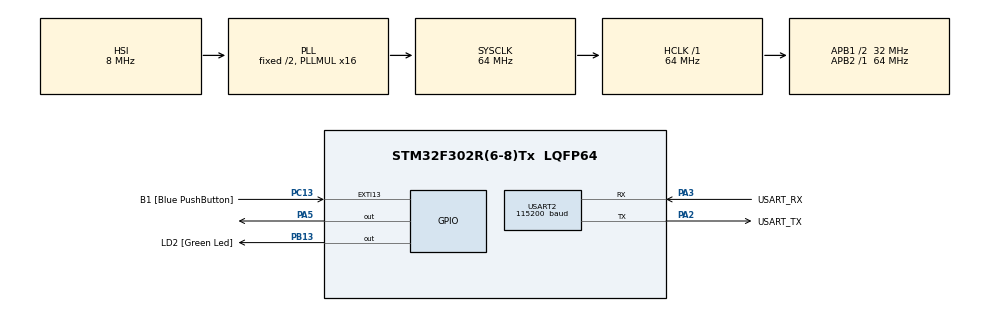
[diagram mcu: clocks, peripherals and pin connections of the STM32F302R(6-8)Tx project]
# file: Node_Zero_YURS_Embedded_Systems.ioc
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Mcu.Family=STM32F3
Mcu.Name=STM32F302R(6-8)Tx
Mcu.Package=LQFP64
NVIC.PriorityGroup=NVIC_PRIORITYGROUP_0
NVIC.TIM1_UP_TIM16_IRQn=true\:0\:0\:false\:false\:true\:true\:true\:true
NVIC.USART2_IRQn=true\:0\:0\:false\:false\:true\:true\:true\:true
PA13.GPIO_Label=TMS
PA13.Mode=Serial_Wire
PA13.Signal=SYS_JTMS-SWDIO
PA14.GPIO_Label=TCK
PA14.Mode=Serial_Wire
PA14.Signal=SYS_JTCK-SWCLK
PA2.GPIO_Label=USART_TX
PA2.GPIO_Mode=GPIO_MODE_AF_PP
PA2.GPIO_PuPd=GPIO_NOPULL
PA2.GPIO_Speed=GPIO_SPEED_FREQ_LOW
PA2.Mode=Asynchronous
PA2.Signal=USART2_TX
PA3.GPIO_Label=USART_RX
PA3.GPIO_Mode=GPIO_MODE_AF_PP
PA3.GPIO_PuPd=GPIO_NOPULL
PA3.GPIO_Speed=GPIO_SPEED_FREQ_LOW
PA3.Mode=Asynchronous
PA3.Signal=USART2_RX
PA5.Signal=GPIO_Output
PB13.GPIO_Label=LD2 [Green Led]
PB13.Signal=GPIO_Output
PB3.GPIO_Label=SWO
PB3.Mode=Trace_Asynchronous_SW
PB3.Signal=SYS_JTDO-TRACESWO
PC13.GPIO_Label=B1 [Blue PushButton]
PC13.GPIO_ModeDefaultEXTI=GPIO_MODE_IT_FALLING
PC13.Signal=GPXTI13
PC14\ -\ OSC32_IN.Mode=LSE-External-Oscillator
PC14\ -\ OSC32_IN.Signal=RCC_OSC32_IN
PC15\ -\ OSC32_OUT.Mode=LSE-External-Oscillator
PC15\ -\ OSC32_OUT.Signal=RCC_OSC32_OUT
PF0-OSC_IN.Mode=HSE-External-Clock-Source
PF0-OSC_IN.Signal=RCC_OSC_IN
PF1-OSC_OUT.Signal=RCC_OSC_OUT
ProjectManager.HeapSize=0x200
ProjectManager.StackSize=0x400
ProjectManager.TargetToolchain=STM32CubeIDE
RCC.AHBFreq_Value=64000000
RCC.APB1CLKDivider=RCC_HCLK_DIV2
RCC.APB1Freq_Value=32000000
RCC.APB1TimFreq_Value=64000000
RCC.APB2Freq_Value=64000000
RCC.APB2TimFreq_Value=64000000
RCC.CortexFreq_Value=64000000
RCC.HCLKFreq_Value=64000000
RCC.HSE_VALUE=8000000
RCC.HSI_VALUE=8000000
RCC.PLLM=8
RCC.PLLMUL=RCC_PLL_MUL16
RCC.PLLN=336
RCC.PLLP=RCC_PLLP_DIV4
RCC.PLLQ=7
RCC.RCC_PLLsource_Clock_Source_FROM_HSE=RCC_HSE_PREDIV_DIV2
RCC.SYSCLKFreq_VALUE=64000000
RCC.SYSCLKSourceVirtual=RCC_SYSCLKSOURCE_PLLCLK
RCC.USBFreq_Value=64000000
TIM1.Period=55535
TIM1.Prescaler=1000
TIM16.AutoReloadPreload=TIM_AUTORELOAD_PRELOAD_DISABLE
TIM16.Period=4999
TIM16.Prescaler=6399
USART2.BaudRate=115200 
USART2.VirtualMode-Asynchronous=VM_ASYNC
VP_TIM16_VS_ClockSourceINT.Mode=Enable_Timer
VP_TIM1_VS_ClockSourceINT.Mode=Internal
board=NUCLEO-F302R8

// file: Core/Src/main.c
/* USER CODE BEGIN Header */
/**
  ******************************************************************************
  * @file           : main.c
  * @brief          : Main program body
  ******************************************************************************
  * @attention
  *
  * Copyright (c) 2026 STMicroelectronics.
  * All rights reserved.
  *
  * This software is licensed under terms that can be found in the LICENSE file
  * in the root directory of this software component.
  * If no LICENSE file comes with this software, it is provided AS-IS.
  *
  ******************************************************************************
  */
/* USER CODE END Header */
#include "main.h"

/* USER CODE BEGIN Includes */
#include "stdio.h"
#include "string.h"
/* USER CODE END Includes */

TIM_HandleTypeDef htim1;
TIM_HandleTypeDef htim16;

UART_HandleTypeDef huart2;

void SystemClock_Config(void);
static void MX_GPIO_Init(void);
static void MX_USART2_UART_Init(void);
static void MX_TIM16_Init(void);
static void MX_TIM1_Init(void);

/* USER CODE BEGIN 0 */

int _write(char *ptr, int len)
{
    // Transmit all 'len' bytes over USART2 at once with a maximum delay timeout
    HAL_UART_Transmit(&huart2, (uint8_t*)ptr, len, HAL_MAX_DELAY);
    return len;

}

/* USER CODE END 0 */

int main(void)
{

  /* MCU Configuration--------------------------------------------------------*/

  /* Reset of all peripherals, Initializes the Flash interface and the Systick. */
  HAL_Init();

  /* Configure the system clock */
  SystemClock_Config();

  /* Initialize all configured peripherals */
  MX_GPIO_Init();
  MX_USART2_UART_Init();
  MX_TIM16_Init();
  MX_TIM1_Init();
  /* USER CODE BEGIN 2 */

//Now I start the timer in Interrupt Mode
  HAL_TIM_Base_Start_IT(&htim16);

  char* codename = "CODENAME: Giuse14\r\n";
  char* firmware = ("FIRMWARE VERSION: v1.1.0 - Phase1\r\n");
  char* str = "message\0";
  _write(str, 8);
  _write(codename, 17);
  _write(firmware, 33);
  /* USER CODE END 2 */

  /* Infinite loop */
  while (1)
  {
//	  _write(str, 8);
    /* USER CODE BEGIN 3 */

//	  This is the alternative with the delay loop
//	  HAL_GPIO_WritePin(LD2_GPIO_Port, LD2_Pin, GPIO_PIN_SET);
//	  HAL_Delay(500);
//	  HAL_GPIO_WritePin(LD2_GPIO_Port, LD2_Pin, GPIO_PIN_RESET);
//	  HAL_Delay(500);

  }
  /* USER CODE END 3 */
}

void SystemClock_Config(void)
{
  RCC_OscInitTypeDef RCC_OscInitStruct = {0};
  RCC_ClkInitTypeDef RCC_ClkInitStruct = {0};
  RCC_PeriphCLKInitTypeDef PeriphClkInit = {0};

  /** Initializes the RCC Oscillators according to the specified parameters
  * in the RCC_OscInitTypeDef structure.
  */
  RCC_OscInitStruct.OscillatorType = RCC_OSCILLATORTYPE_HSI;
  RCC_OscInitStruct.HSIState = RCC_HSI_ON;
  RCC_OscInitStruct.HSICalibrationValue = RCC_HSICALIBRATION_DEFAULT;
  RCC_OscInitStruct.PLL.PLLState = RCC_PLL_ON;
  RCC_OscInitStruct.PLL.PLLSource = RCC_PLLSOURCE_HSI;
  RCC_OscInitStruct.PLL.PLLMUL = RCC_PLL_MUL16;
  if (HAL_RCC_OscConfig(&RCC_OscInitStruct) != HAL_OK)
  {
    Error_Handler();
  }

  /** Initializes the CPU, AHB and APB buses clocks
  */
  RCC_ClkInitStruct.ClockType = RCC_CLOCKTYPE_HCLK|RCC_CLOCKTYPE_SYSCLK
                              |RCC_CLOCKTYPE_PCLK1|RCC_CLOCKTYPE_PCLK2;
  RCC_ClkInitStruct.SYSCLKSource = RCC_SYSCLKSOURCE_PLLCLK;
  RCC_ClkInitStruct.AHBCLKDivider = RCC_SYSCLK_DIV1;
  RCC_ClkInitStruct.APB1CLKDivider = RCC_HCLK_DIV2;
  RCC_ClkInitStruct.APB2CLKDivider = RCC_HCLK_DIV1;

  if (HAL_RCC_ClockConfig(&RCC_ClkInitStruct, FLASH_LATENCY_2) != HAL_OK)
  {
    Error_Handler();
  }
  PeriphClkInit.PeriphClockSelection = RCC_PERIPHCLK_TIM1|RCC_PERIPHCLK_TIM16;
  PeriphClkInit.Tim1ClockSelection = RCC_TIM1CLK_HCLK;
  PeriphClkInit.Tim16ClockSelection = RCC_TIM16CLK_HCLK;
  if (HAL_RCCEx_PeriphCLKConfig(&PeriphClkInit) != HAL_OK)
  {
    Error_Handler();
  }
}

static void MX_TIM1_Init(void)
{

  TIM_ClockConfigTypeDef sClockSourceConfig = {0};
  TIM_MasterConfigTypeDef sMasterConfig = {0};

  htim1.Instance = TIM1;
  htim1.Init.Prescaler = 1000;
  htim1.Init.CounterMode = TIM_COUNTERMODE_UP;
  htim1.Init.Period = 55535;
  htim1.Init.ClockDivision = TIM_CLOCKDIVISION_DIV1;
  htim1.Init.RepetitionCounter = 0;
  htim1.Init.AutoReloadPreload = TIM_AUTORELOAD_PRELOAD_DISABLE;
  if (HAL_TIM_Base_Init(&htim1) != HAL_OK)
  {
    Error_Handler();
  }
  sClockSourceConfig.ClockSource = TIM_CLOCKSOURCE_INTERNAL;
  if (HAL_TIM_ConfigClockSource(&htim1, &sClockSourceConfig) != HAL_OK)
  {
    Error_Handler();
  }
  sMasterConfig.MasterOutputTrigger = TIM_TRGO_RESET;
  sMasterConfig.MasterOutputTrigger2 = TIM_TRGO2_RESET;
  sMasterConfig.MasterSlaveMode = TIM_MASTERSLAVEMODE_DISABLE;
  if (HAL_TIMEx_MasterConfigSynchronization(&htim1, &sMasterConfig) != HAL_OK)
  {
    Error_Handler();
  }

}

static void MX_TIM16_Init(void)
{

  htim16.Instance = TIM16;
  htim16.Init.Prescaler = 6399;
  htim16.Init.CounterMode = TIM_COUNTERMODE_UP;
  htim16.Init.Period = 4999;
  htim16.Init.ClockDivision = TIM_CLOCKDIVISION_DIV1;
  htim16.Init.RepetitionCounter = 0;
  htim16.Init.AutoReloadPreload = TIM_AUTORELOAD_PRELOAD_DISABLE;
  if (HAL_TIM_Base_Init(&htim16) != HAL_OK)
  {
    Error_Handler();
  }

}

static void MX_USART2_UART_Init(void)
{

  huart2.Instance = USART2;
  huart2.Init.BaudRate = 115200 ;
  huart2.Init.WordLength = UART_WORDLENGTH_8B;
  huart2.Init.StopBits = UART_STOPBITS_1;
  huart2.Init.Parity = UART_PARITY_NONE;
  huart2.Init.Mode = UART_MODE_TX_RX;
  huart2.Init.HwFlowCtl = UART_HWCONTROL_NONE;
  huart2.Init.OverSampling = UART_OVERSAMPLING_16;
  huart2.Init.OneBitSampling = UART_ONE_BIT_SAMPLE_DISABLE;
  huart2.AdvancedInit.AdvFeatureInit = UART_ADVFEATURE_NO_INIT;
  if (HAL_UART_Init(&huart2) != HAL_OK)
  {
    Error_Handler();
  }

}

static void MX_GPIO_Init(void)
{
  GPIO_InitTypeDef GPIO_InitStruct = {0};

  /* GPIO Ports Clock Enable */
  __HAL_RCC_GPIOC_CLK_ENABLE();
  __HAL_RCC_GPIOF_CLK_ENABLE();
  __HAL_RCC_GPIOA_CLK_ENABLE();
  __HAL_RCC_GPIOB_CLK_ENABLE();

  /*Configure GPIO pin Output Level */
  HAL_GPIO_WritePin(GPIOA, GPIO_PIN_5, GPIO_PIN_RESET);

  /*Configure GPIO pin Output Level */
  HAL_GPIO_WritePin(LD2_GPIO_Port, LD2_Pin, GPIO_PIN_RESET);

  /*Configure GPIO pin : B1_Pin */
  GPIO_InitStruct.Pin = B1_Pin;
  GPIO_InitStruct.Mode = GPIO_MODE_IT_FALLING;
  GPIO_InitStruct.Pull = GPIO_NOPULL;
  HAL_GPIO_Init(B1_GPIO_Port, &GPIO_InitStruct);

  /*Configure GPIO pin : PA5 */
  GPIO_InitStruct.Pin = GPIO_PIN_5;
  GPIO_InitStruct.Mode = GPIO_MODE_OUTPUT_PP;
  GPIO_InitStruct.Pull = GPIO_NOPULL;
  GPIO_InitStruct.Speed = GPIO_SPEED_FREQ_LOW;
  HAL_GPIO_Init(GPIOA, &GPIO_InitStruct);

  /*Configure GPIO pin : LD2_Pin */
  GPIO_InitStruct.Pin = LD2_Pin;
  GPIO_InitStruct.Mode = GPIO_MODE_OUTPUT_PP;
  GPIO_InitStruct.Pull = GPIO_NOPULL;
  GPIO_InitStruct.Speed = GPIO_SPEED_FREQ_LOW;
  HAL_GPIO_Init(LD2_GPIO_Port, &GPIO_InitStruct);

}

/* USER CODE BEGIN 4 */
void HAL_TIM_PeriodElapsedCallback(TIM_HandleTypeDef *htim)
{
    if (htim->Instance == TIM16) // Controlla quale timer ha generato l'interrupt
    {
        HAL_GPIO_TogglePin(GPIOB, GPIO_PIN_13); // Sostituisci con la tua porta e pin del LED
    }
}
/* USER CODE END 4 */

void Error_Handler(void)
{
  __disable_irq();
  while (1)
  {
  }
}
